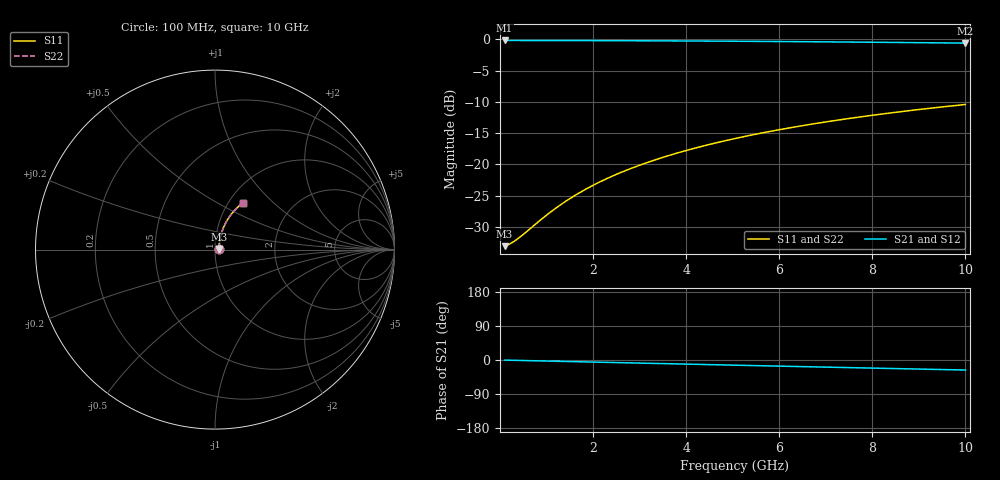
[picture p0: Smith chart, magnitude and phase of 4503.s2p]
# Hz S RI R 50.00
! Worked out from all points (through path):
!   100 points, 100 MHz to 10 GHz, reference 50 ohm
!   highest |S21| = -0.19 dB at 100 MHz (marker M1); lowest = -0.6 dB at 10 GHz (marker M2)
!   group delay of S21, straight-line fit = 7.36 ps
!   lowest |S11| = -33.1 dB at 100 MHz (marker M3), VSWR 1.05, Z = 52.2 + j0.325 ohm
!   |S11| at or under -10 dB: start of sweep to end of sweep
!   |S22| runs from -33.1 to -10.4 dB; largest |S21 - S12| = 0
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1e8  0.022 0.00311  0.978 -0.00466  0.978 -0.00466  0.022 0.00311
2e8  0.0222 0.00622  0.9778 -0.00931  0.9778 -0.00931  0.0222 0.00622
3e8  0.0224 0.00932  0.9776 -0.014  0.9776 -0.014  0.0224 0.00932
4e8  0.0225 0.0124  0.9774 -0.0186  0.9774 -0.0186  0.0225 0.0124
1e9  0.0241 0.031  0.9757 -0.0465  0.9757 -0.0465  0.0241 0.031
1.3e9  0.0253 0.0402  0.9745 -0.0603  0.9745 -0.0603  0.0253 0.0402
1.5e9  0.0261 0.0464  0.9736 -0.0696  0.9736 -0.0696  0.0261 0.0464
1.8e9  0.0277 0.0555  0.9719 -0.0834  0.9719 -0.0834  0.0277 0.0555
2.1e9  0.0295 0.0646  0.9699 -0.0971  0.9699 -0.0971  0.0295 0.0646
2.5e9  0.0323 0.0767  0.9669 -0.1153  0.9669 -0.1153  0.0323 0.0767
2.9e9  0.0355 0.0885  0.9634 -0.1334  0.9634 -0.1334  0.0355 0.0885
3.4e9  0.0401 0.1032  0.9584 -0.1558  0.9584 -0.1558  0.0401 0.1032
3.8e9  0.0443 0.1147  0.9539 -0.1735  0.9539 -0.1735  0.0443 0.1147
4.2e9  0.0489 0.126  0.9489 -0.1911  0.9489 -0.1911  0.0489 0.126
4.6e9  0.0539 0.1371  0.9435 -0.2084  0.9435 -0.2084  0.0539 0.1371
5.1e9  0.0607 0.1506  0.9361 -0.2297  0.9361 -0.2297  0.0607 0.1506
5.9e9  0.0728 0.1715  0.9229 -0.263  0.9229 -0.263  0.0728 0.1715
6.7e9  0.0862 0.1912  0.9082 -0.2951  0.9082 -0.2951  0.0862 0.1912
7.5e9  0.101 0.2097  0.8921 -0.3261  0.8921 -0.3261  0.101 0.2097
8.4e9  0.1189 0.2289  0.8724 -0.3594  0.8724 -0.3594  0.1189 0.2289
9.2e9  0.1358 0.2446  0.8537 -0.3876  0.8537 -0.3876  0.1358 0.2446
1e10  0.1536 0.2588  0.834 -0.4144  0.834 -0.4144  0.1536 0.2588
